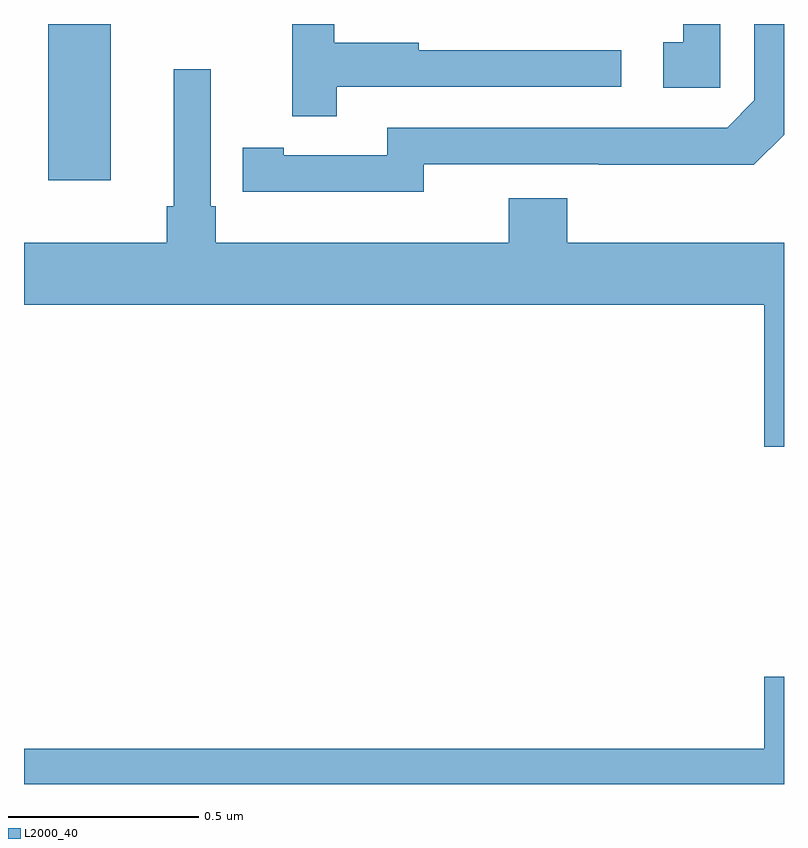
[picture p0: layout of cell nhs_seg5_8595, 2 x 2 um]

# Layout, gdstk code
import gdstk
lib = gdstk.Library(unit=1e-6, precision=1e-09)
def R(c, l, rs):  # rectangles x0, y0, x1, y1
    for r in rs: c.add(gdstk.rectangle(r[:2], r[2:], *l))
def P(c, l, *ps):  # polygons
    for p in ps: c.add(gdstk.Polygon(p, *l))
L2000_40 = (2000, 40)

nhs_seg5_8595 = lib.new_cell('nhs_seg5_8595')
R(nhs_seg5_8595, L2000_40, [(223.064,890.388,223.228,890.799)])
P(nhs_seg5_8595, L2000_40, [(224.052,890.43),(224.512,890.43),(224.512,890.429),(224.92,890.429),(225,890.508),(225,890.799),(224.922,890.799),(224.922,890.598),(224.85,890.526),(223.956,890.526),(223.956,890.454),(223.684,890.454),(223.684,890.474),(223.576,890.474),(223.576,890.358),(223.684,890.358),(223.684,890.357),(224.052,890.357)],
  [(223.823,890.634),(224.572,890.634),(224.572,890.73),(224.039,890.73),(224.039,890.75),(223.816,890.75),(223.816,890.799),(223.706,890.799),(223.706,890.556),(223.823,890.556)],
  [(224.832,890.799),(224.735,890.799),(224.735,890.751),(224.682,890.751),(224.682,890.631),(224.832,890.631)],
  [(225,890.224),(224.429,890.224),(224.429,890.341),(224.276,890.341),(224.276,890.224),(223.505,890.224),(223.505,890.32),(223.491,890.32),(223.491,890.68),(223.394,890.68),(223.394,890.32),(223.375,890.32),(223.375,890.224),(223,890.224),(223,890.06),(224.948,890.06),(224.948,889.686),(225,889.686)],
  [(225,889.081),(224.948,889.081),(224.948,888.892),(223,888.892),(223,888.799),(225,888.799)])

lib.write_gds('nhs_seg5_8595.gds')
